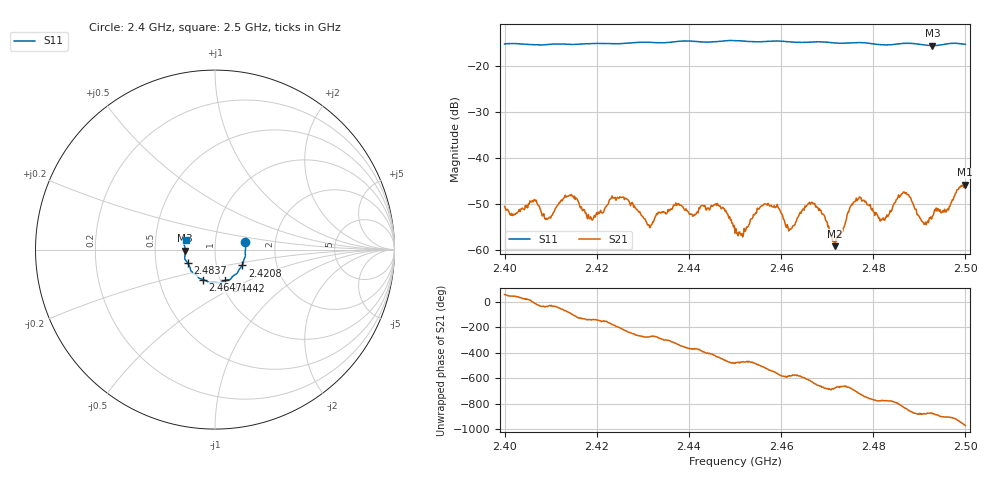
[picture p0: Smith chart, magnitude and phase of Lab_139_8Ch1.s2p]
# Hz S RI R 50
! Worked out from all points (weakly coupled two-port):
!   601 points, 2.4 GHz to 2.5 GHz, reference 50 ohm
!   highest |S21| = -45.84 dB at 2.4998 GHz (marker M1); lowest = -59.2 dB at 2.4717 GHz (marker M2)
!   lowest |S11| = -15.6 dB at 2.4928 GHz (marker M3), VSWR 1.40, Z = 35.8 - j0.398 ohm
!   |S11| at or under -10 dB: start of sweep to end of sweep
!   S12 and S22 are empty: the file has one direction only
!   S11 on the Smith chart (normalised r, x): 2.4 GHz: 1.40, +0.12; 2.4208 GHz: 1.33, -0.24; 2.4442 GHz: 1.05, -0.37; 2.4647 GHz: 0.83, -0.29; 2.4837 GHz: 0.73, -0.11; 2.5 GHz: 0.72, +0.08
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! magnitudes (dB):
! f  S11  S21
! 2.4 GHz  -15.2  -50.6
! 2.4142 GHz  -15.3  -48.1
! 2.4167 GHz  -15.3  -50.6
! 2.4208 GHz  -15.1  -51.4
! 2.4253 GHz  -15.2  -48.6
! 2.4313 GHz  -14.9  -54.6
! 2.4333 GHz  -15.0  -51.8
! 2.4442 GHz  -14.8  -50.9
! 2.45 GHz  -14.5  -56.4
! 2.4563 GHz  -14.7  -50.0
! 2.462 GHz  -14.8  -55.6
! 2.4647 GHz  -14.9  -51.2
! 2.4667 GHz  -14.8  -49.6
! 2.4717 GHz  -15.0  -59.2
! 2.4768 GHz  -14.9  -48.9
! 2.4833 GHz  -15.4  -52.5
! 2.4837 GHz  -15.4  -51.5
! 2.4867 GHz  -15.1  -47.4
! 2.491 GHz  -15.4  -54.4
! 2.4928 GHz  -15.6  -52.7
! 2.4998 GHz  -15.3  -45.8
! 2.5 GHz  -15.3  -46.4
